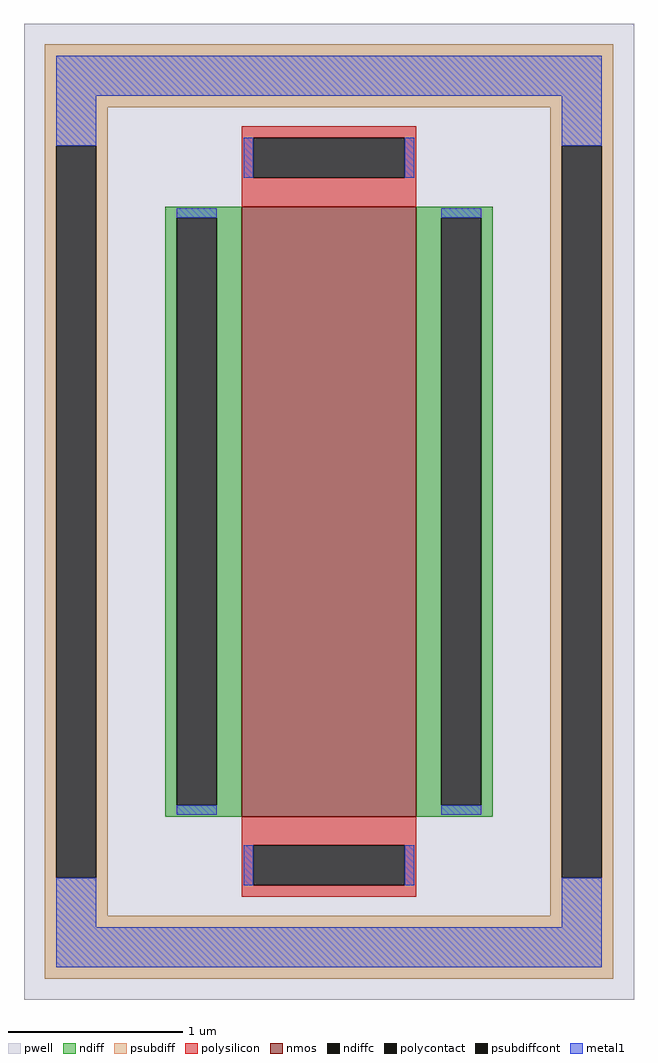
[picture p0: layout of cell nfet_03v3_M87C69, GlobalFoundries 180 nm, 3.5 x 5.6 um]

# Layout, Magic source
magic
tech gf180mcuD
magscale 1 10
<< pwell >>
rect -350 -560 350 560
<< nmos >>
rect -100 -350 100 350
<< ndiff >>
rect -188 337 -100 350
rect -188 -337 -175 337
rect -129 -337 -100 337
rect -188 -350 -100 -337
rect 100 337 188 350
rect 100 -337 129 337
rect 175 -337 188 337
rect 100 -350 188 -337
<< ndiffc >>
rect -175 -337 -129 337
rect 129 -337 175 337
<< psubdiff >>
rect -326 464 326 536
rect -326 420 -254 464
rect -326 -420 -313 420
rect -267 -420 -254 420
rect 254 420 326 464
rect -326 -464 -254 -420
rect 254 -420 267 420
rect 313 -420 326 420
rect 254 -464 326 -420
rect -326 -536 326 -464
<< psubdiffcont >>
rect -313 -420 -267 420
rect 267 -420 313 420
<< polysilicon >>
rect -100 429 100 442
rect -100 383 -87 429
rect 87 383 100 429
rect -100 350 100 383
rect -100 -383 100 -350
rect -100 -429 -87 -383
rect 87 -429 100 -383
rect -100 -442 100 -429
<< polycontact >>
rect -87 383 87 429
rect -87 -429 87 -383
<< metal1 >>
rect -313 477 313 523
rect -313 420 -267 477
rect -98 383 -87 429
rect 87 383 98 429
rect 267 420 313 477
rect -175 337 -129 348
rect -175 -348 -129 -337
rect 129 337 175 348
rect 129 -348 175 -337
rect -313 -477 -267 -420
rect -98 -429 -87 -383
rect 87 -429 98 -383
rect 267 -477 313 -420
rect -313 -523 313 -477
<< properties >>
string FIXED_BBOX -290 -500 290 500
string gencell nfet_03v3
string library gf180mcu
string parameters w 3.5 l 1.0 m 1 nf 1 diffcov 100 polycov 100 guard 1 glc 1 grc 1 gtc 0 gbc 0 tbcov 100 rlcov 100 topc 1 botc 1 poverlap 0 doverlap 1 lmin 0.28 wmin 0.22 class mosfet full_metal 1 compatible {nfet_03v3 nfet_06v0 nfet_06v0_nvt} ad {int((nf+1)/2) * W/nf * 0.18u} as {int((nf+2)/2) * W/nf * 0.18u} pd {2*int((nf+1)/2) * (W/nf + 0.18u)} ps {2*int((nf+2)/2) * (W/nf + 0.18u)} nrd {0.18u / W} nrs {0.18u / W} sa 0 sb 0 sd 0
<< end >>
